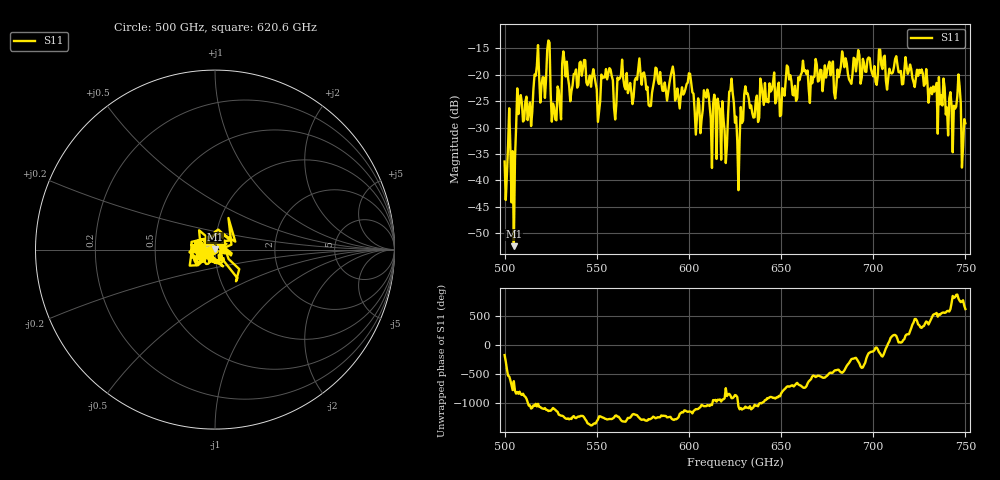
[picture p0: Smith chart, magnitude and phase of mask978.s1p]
!Created with skrf (http://scikit-rf.org).
# GHz S MA R 50.0
!freq magS11 angS11
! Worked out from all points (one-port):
!   401 points, 500 GHz to 750 GHz, reference 50 ohm
!   lowest |S11| = -52.5 dB at 505 GHz (marker M1), VSWR 1.00, Z = 50 + j0.236 ohm
!   |S11| at or under -10 dB: start of sweep to end of sweep
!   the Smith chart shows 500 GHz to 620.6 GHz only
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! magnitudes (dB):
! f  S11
! 500 GHz  -36.4
! 503.1 GHz  -33.8
! 505 GHz  -52.5
! 508.1 GHz  -25.2
! 513.8 GHz  -25.3
! 516.9 GHz  -20.2
! 520.6 GHz  -20.5
! 523.8 GHz  -13.5
! 526.9 GHz  -26.2
! 531.2 GHz  -17.8
! 542.5 GHz  -18.8
! 550.6 GHz  -28.9
! 562.5 GHz  -20.7
! 593.8 GHz  -22.6
! 600 GHz  -19.7
! 605 GHz  -24.5
! 609.4 GHz  -24.3
! 618.8 GHz  -28.4
! 623.1 GHz  -20.7
! 625 GHz  -29.1
! 626.2 GHz  -32.7
! 631.2 GHz  -23.6
! 656.2 GHz  -23.8
! 687.5 GHz  -21.3
! 718.8 GHz  -19.8
! 741.9 GHz  -23.3
! 746.2 GHz  -19.9
! 750 GHz  -29.2
